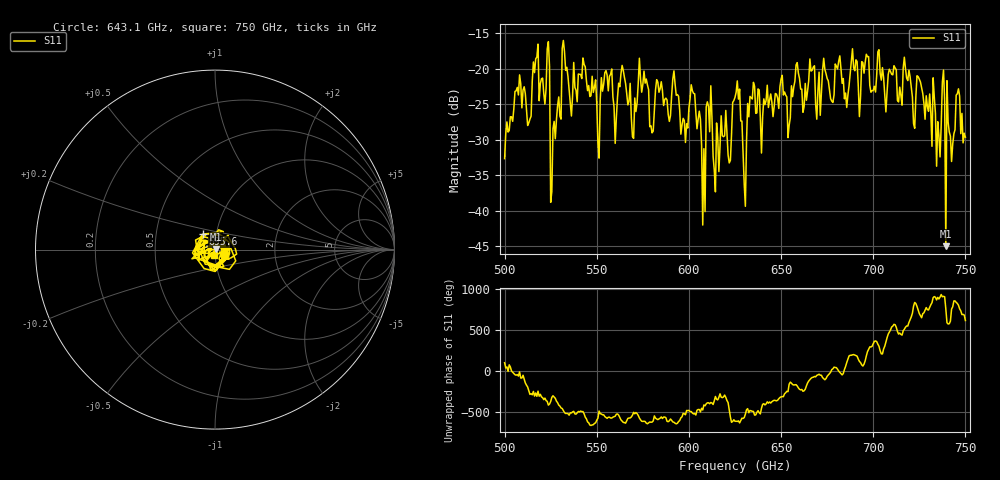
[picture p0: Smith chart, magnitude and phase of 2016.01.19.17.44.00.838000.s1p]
!Created with skrf (http://scikit-rf.org).
# GHz S RI R 50.0
!freq ReS11 ImS11
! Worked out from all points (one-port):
!   401 points, 500 GHz to 750 GHz, reference 50 ohm
!   lowest |S11| = -45.0 dB at 739.4 GHz (marker M1), VSWR 1.01, Z = 50.4 + j0.393 ohm
!   |S11| at or under -10 dB: start of sweep to end of sweep
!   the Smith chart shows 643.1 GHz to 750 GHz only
!   S11 on the Smith chart (normalised r, x): 643.1 GHz: 1.10, -0.05; 695.6 GHz: 0.86, +0.15; 750 GHz: 0.99, -0.06
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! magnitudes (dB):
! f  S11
! 500 GHz  -32.7
! 507.5 GHz  -23.7
! 513.1 GHz  -27.6
! 516.9 GHz  -18.6
! 523.1 GHz  -17.2
! 526.2 GHz  -28.4
! 531.2 GHz  -17.1
! 550.6 GHz  -30.4
! 562.5 GHz  -22.5
! 570 GHz  -29.8
! 576.9 GHz  -21.5
! 580 GHz  -29.0
! 593.8 GHz  -23.6
! 602.5 GHz  -23.5
! 607.5 GHz  -42.0
! 610.6 GHz  -25.3
! 615 GHz  -27.6
! 621.9 GHz  -33.3
! 625 GHz  -24.0
! 630 GHz  -36.3
! 634.4 GHz  -24.3
! 643.1 GHz  -25.5
! 656.2 GHz  -23.9
! 687.5 GHz  -20.6
! 695.6 GHz  -19.1
! 718.8 GHz  -21.7
! 739.4 GHz  -45.0
! 750 GHz  -29.6
